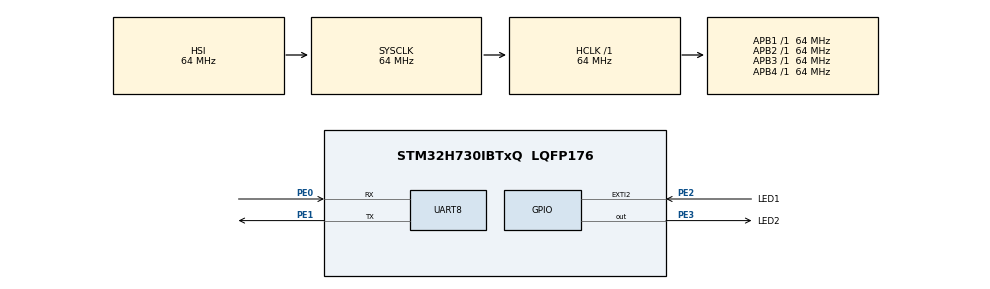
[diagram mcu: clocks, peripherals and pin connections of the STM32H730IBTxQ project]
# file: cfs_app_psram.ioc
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CORTEX_M7.default_mode_Activation=1
FATFS._CODE_PAGE=1
FATFS._FS_LOCK=0
FATFS._FS_NORTC=1
FATFS._FS_REENTRANT=0
FATFS._NORTC_MON=1
FATFS._NORTC_YEAR=2024
FATFS._USE_FASTSEEK=0
FATFS._USE_STRFUNC=0
FREERTOS.Tasks01=defaultTask,24,128,StartDefaultTask,Default,NULL,Dynamic,NULL,NULL
FREERTOS.configTOTAL_HEAP_SIZE=65536
Mcu.Family=STM32H7
Mcu.Name=STM32H730IBTxQ
Mcu.Package=LQFP176
NVIC.PriorityGroup=NVIC_PRIORITYGROUP_4
NVIC.TIM6_DAC_IRQn=true\:15\:0\:false\:false\:true\:false\:false\:true\:true
NVIC.TimeBase=TIM6_DAC_IRQn
NVIC.TimeBaseIP=TIM6
PA13(JTMS/SWDIO).Mode=Serial_Wire
PA13(JTMS/SWDIO).Signal=DEBUG_JTMS-SWDIO
PA14(JTCK/SWCLK).Mode=Serial_Wire
PA14(JTCK/SWCLK).Signal=DEBUG_JTCK-SWCLK
PE0.Mode=Asynchronous
PE0.Signal=UART8_RX
PE1.Mode=Asynchronous
PE1.Signal=UART8_TX
PE2.GPIO_Label=LED1
PE2.Signal=GPXTI2
PE3.GPIO_Label=LED2
PE3.Signal=GPIO_Output
ProjectManager.HeapSize=0x200
ProjectManager.StackSize=0x400
ProjectManager.TargetToolchain=STM32CubeIDE
RCC.ADCFreq_Value=129000000
RCC.APB1Freq_Value=64000000
RCC.APB2Freq_Value=64000000
RCC.APB3Freq_Value=64000000
RCC.APB4Freq_Value=64000000
RCC.CortexFreq_Value=64000000
RCC.HCLKFreq_Value=64000000
RCC.SYSCLKFreq_VALUE=64000000
RCC.USART234578CLockSelection=RCC_USART234578CLKSOURCE_CSI
RCC.USBFreq_Value=129000000
UART8.FIFOMode=FIFOMODE_ENABLE
UART8.SwapParam=UART_ADVFEATURE_SWAP_ENABLE
VP_FATFS_VS_Generic.Mode=User_defined
VP_FREERTOS_VS_CMSIS_V2.Mode=CMSIS_V2
VP_MEMORYMAP_VS_MEMORYMAP.Mode=CurAppReg
VP_SYS_VS_tim6.Mode=TIM6
board=custom

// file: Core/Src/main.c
/* USER CODE BEGIN Header */
/**
  ******************************************************************************
  * @file     : main.c
  * @brief    : MAIN APP - cFS Phase 1: OSAL + FatFS structural
  * @target   : STM32H730IBT6Q
  ******************************************************************************
  */
/* USER CODE END Header */
#include "main.h"
#include "FreeRTOS.h"
#include "cmsis_os2.h"
#include "fatfs.h"
#include "usart.h"
#include "gpio.h"
#include "port_debug.h"

/* USER CODE BEGIN Includes */
#include <string.h>
#include "libs/uart_debug.h"
#include "osal/osal_freertos.h"
#include "osal_test_task.h"
#include "psp/psp_stm32h730.h"     /* ← NUEVO */
/* USER CODE END Includes */

void SystemClock_Config(void);
//static void MPU_Config(void);
void MX_FREERTOS_Init(void);

int main(void)
{

  /* USER CODE BEGIN 1 */
  /* VTOR a PSRAM: tabla de vectores vive en 0x90000000 (mapeada vía OctoSPI)  */
  SCB->VTOR = 0x90000000UL;
  __enable_irq();
  /* USER CODE END 1 */

  /* MPU Configuration--------------------------------------------------------*/
  /* MPU deshabilitada durante bring-up cFS. Con caches off no hace falta y
     la config autogenerada de CubeMX bloquea acceso a PSRAM por defecto.
     Se reactivará cuando habilitemos I-cache/D-cache.                         */
  /* MPU_Config(); */

  /* MCU Configuration--------------------------------------------------------*/

  /* Reset of all peripherals, Initializes the Flash interface and the Systick. */
  HAL_Init();

  /* Configure the system clock */
  SystemClock_Config();

  /* Initialize all configured peripherals */
  MX_GPIO_Init();
  MX_UART8_Init();
  MX_FATFS_Init();

  /* USER CODE BEGIN 2 */
    PORT_DBG("\n=== cFS on STM32H730 / PSRAM ===\n");

    /* OSAL before the scheduler */
    osKernelInitialize();
    PORT_DBG("osKernelInitialize OK\n");

    if (OS_API_Init() != OS_SUCCESS) {
        OS_printf("MAIN FATAL: OS_API_Init failed\n");
        Error_Handler();
    }
    PORT_DBG("OS_API_Init OK\n");

    /* PSP takes control: mounts RAM disk, runs CFE_ES_Main, creates app tasks */
    PORT_DBG("Launching CFE_PSP_Main...\n");
    CFE_PSP_Main();

    PORT_DBG("Starting scheduler (osKernelStart)\n");
    /* USER CODE END 2 */

  /* Init scheduler */
  osKernelStart();

  /* We should never get here as control is now taken by the scheduler */

  /* Infinite loop */
  /* USER CODE BEGIN WHILE */
    OS_printf("MAIN FATAL: osKernelStart returned\n");
    Error_Handler();
    while (1)
    {
      /* USER CODE END WHILE */
    }
}

void SystemClock_Config(void)
{
  RCC_OscInitTypeDef RCC_OscInitStruct = {0};
  RCC_ClkInitTypeDef RCC_ClkInitStruct = {0};

  /** Supply configuration update enable */
  HAL_PWREx_ConfigSupply(PWR_DIRECT_SMPS_SUPPLY);

  /** Configure the main internal regulator output voltage */
  __HAL_PWR_VOLTAGESCALING_CONFIG(PWR_REGULATOR_VOLTAGE_SCALE3);

  while(!__HAL_PWR_GET_FLAG(PWR_FLAG_VOSRDY)) {}

  RCC_OscInitStruct.OscillatorType = RCC_OSCILLATORTYPE_CSI|RCC_OSCILLATORTYPE_HSI;
  RCC_OscInitStruct.HSIState = RCC_HSI_DIV1;
  RCC_OscInitStruct.HSICalibrationValue = 64;
  RCC_OscInitStruct.CSIState = RCC_CSI_ON;
  RCC_OscInitStruct.CSICalibrationValue = 16;
  RCC_OscInitStruct.PLL.PLLState = RCC_PLL_NONE;
  if (HAL_RCC_OscConfig(&RCC_OscInitStruct) != HAL_OK)
  {
    Error_Handler();
  }

  RCC_ClkInitStruct.ClockType = RCC_CLOCKTYPE_HCLK|RCC_CLOCKTYPE_SYSCLK
                              |RCC_CLOCKTYPE_PCLK1|RCC_CLOCKTYPE_PCLK2
                              |RCC_CLOCKTYPE_D3PCLK1|RCC_CLOCKTYPE_D1PCLK1;
  RCC_ClkInitStruct.SYSCLKSource = RCC_SYSCLKSOURCE_HSI;
  RCC_ClkInitStruct.SYSCLKDivider = RCC_SYSCLK_DIV1;
  RCC_ClkInitStruct.AHBCLKDivider = RCC_HCLK_DIV1;
  RCC_ClkInitStruct.APB3CLKDivider = RCC_APB3_DIV1;
  RCC_ClkInitStruct.APB1CLKDivider = RCC_APB1_DIV1;
  RCC_ClkInitStruct.APB2CLKDivider = RCC_APB2_DIV1;
  RCC_ClkInitStruct.APB4CLKDivider = RCC_APB4_DIV1;

  if (HAL_RCC_ClockConfig(&RCC_ClkInitStruct, FLASH_LATENCY_1) != HAL_OK)
  {
    Error_Handler();
  }
}

/* USER CODE BEGIN 4 */
/* (Sin StartBlinkTask: usamos osal_test_task como en versión previa) */
/* USER CODE END 4 */

 /* MPU Configuration */

/*void MPU_Config(void)
{

}*/

void HAL_TIM_PeriodElapsedCallback(TIM_HandleTypeDef *htim)
{
  if (htim->Instance == TIM6)
  {
    HAL_IncTick();
  }
}

void Error_Handler(void)
{
  __disable_irq();
  while (1)
  {
  }
}

/* USER CODE BEGIN 5 */
/* FreeRTOS hooks */
void vApplicationStackOverflowHook(TaskHandle_t xTask, char *pcTaskName)
{
    (void)xTask;
    uart_printf("\r\n!!! STACK OVERFLOW en tarea: %s !!!\r\n", pcTaskName);
    while(1) {
        HAL_GPIO_TogglePin(GPIOE, LED1_Pin);
        HAL_Delay(100);
    }
}

void vApplicationMallocFailedHook(void)
{
    uart_printf("\r\n!!! MALLOC FAILED en FreeRTOS !!!\r\n");
    while(1) {
        HAL_GPIO_TogglePin(GPIOE, LED2_Pin);
        HAL_Delay(100);
    }
}
/* USER CODE END 5 */
